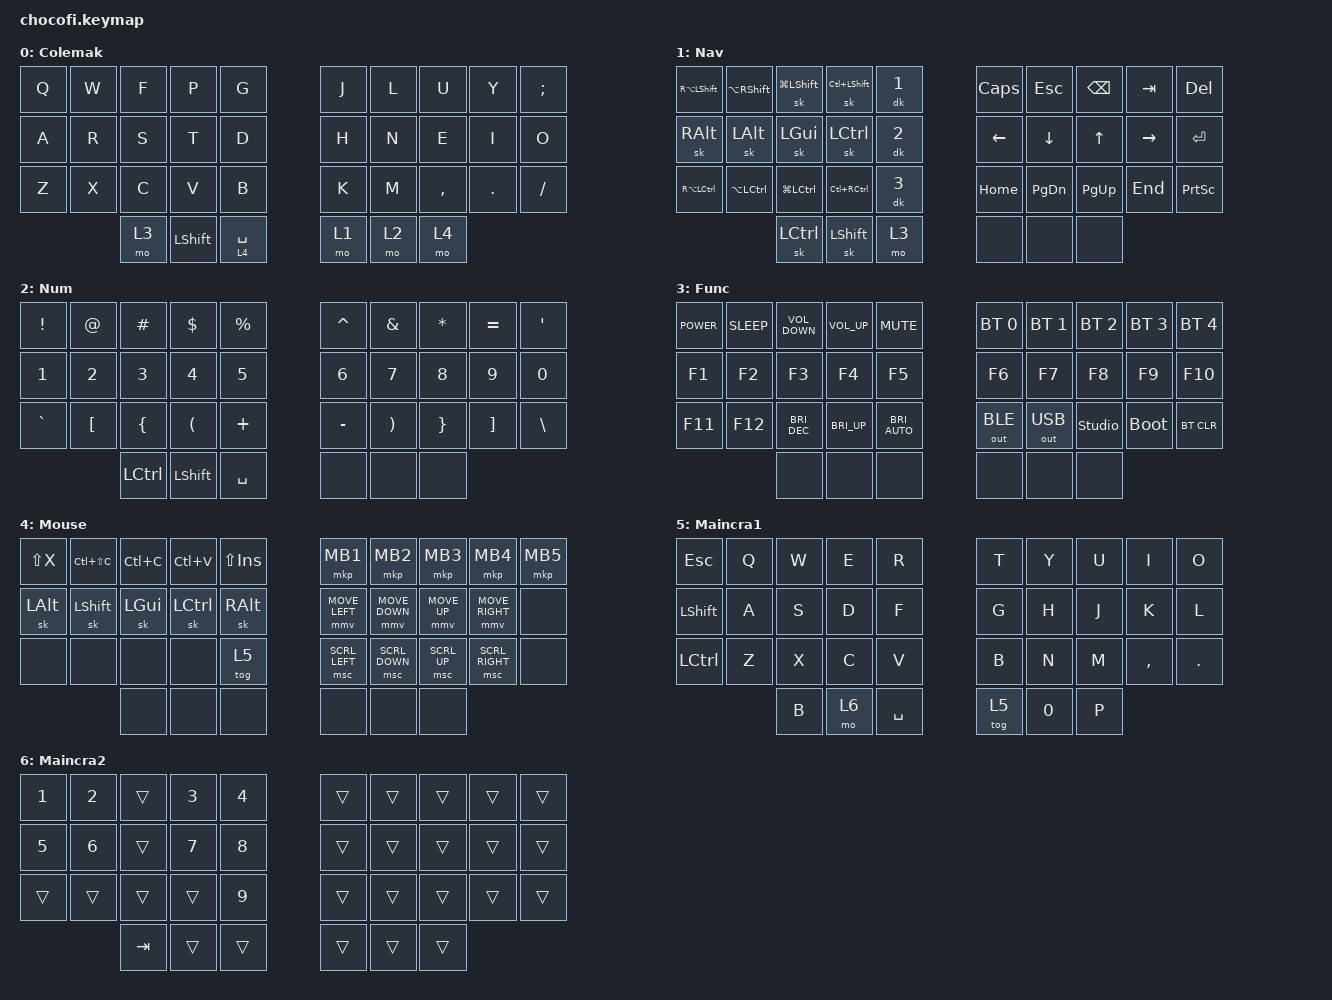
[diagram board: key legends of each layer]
/*
* Keymap configuration file
*/

#include <behaviors.dtsi>
#include <dt-bindings/zmk/bt.h>
#include <dt-bindings/zmk/keys.h>
#include <dt-bindings/zmk/outputs.h>
#include <dt-bindings/zmk/pointing.h>

&lt {
};

/ {
    combos { compatible = "zmk,combos"; };

    behaviors {
        dk: deck_key {
            compatible = "zmk,behavior-deck-key";
            #binding-cells = <1>;
            display-name = "Deck Key";
        };

        lhrm: lhrm {
            compatible = "zmk,behavior-hold-tap";
            label = "LHRM";
            #binding-cells = <2>;
            tapping-term-ms = <150>;
            quick-tap-ms = <100>;
            require-prior-idle-ms = <110>;
            flavor = "balanced";
            hold-trigger-key-positions = <33 25 15 5 6 16 26 34 35 27 17 7 8 18 28 29 19 5 6 7 8 9 15 16 17 18 19 25 26 27 28 29 33 34 35>;
            bindings = <&kp>, <&kp>;
        };

        rhrm: rhrm {
            compatible = "zmk,behavior-hold-tap";
            label = "RHRM";
            bindings = <&kp>, <&kp>;

            #binding-cells = <2>;
            tapping-term-ms = <150>;
            quick-tap-ms = <100>;
            require-prior-idle-ms = <110>;
            flavor = "balanced";
            hold-trigger-key-positions = <0 1 2 3 4 10 11 12 13 14 20 21 22 23 24 30 31 32>;
        };
    };

    keymap {
        compatible = "zmk,keymap";

        colemak {
            // -----------------------------------------------------------------------------------------
            // |  TAB |  Q  |  W  |  E  |  R  |  T  |   |  Y  |  U   |  I  |  O  |  P  | BSPC |
            // | CTRL |  A  |  S  |  D  |  F  |  G  |   |  H  |  J   |  K  |  L  |  ;  |  '   |
            // | SHFT |  Z  |  X  |  C  |  V  |  B  |   |  N  |  M   |  ,  |  .  |  /  | ESC  |
            //                    | GUI | LWR | SPC |   | ENT | RSE  | ALT |

            bindings = <
  &kp Q  &kp W  &kp F  &kp P       &kp G          &kp J  &kp L  &kp U      &kp Y    &kp SEMI
  &kp A  &kp R  &kp S  &kp T       &kp D          &kp H  &kp N  &kp E      &kp I    &kp O
  &kp Z  &kp X  &kp C  &kp V       &kp B          &kp K  &kp M  &kp COMMA  &kp DOT  &kp FSLH
                &mo 3  &kp LSHIFT  &lt 4 SPACE    &mo 1  &mo 2  &mo 4
            >;

            label = "Colemak";
        };

        Nav {
            bindings = <
  &kp RA(LEFT_SHIFT)  &kp LA(RSHIFT)  &sk LG(LSHIFT)  &sk LC(LEFT_SHIFT)  &dk 1    &kp CAPS  &kp ESC    &kp BACKSPACE  &kp TAB    &kp DELETE
  &sk RALT            &sk LEFT_ALT    &sk LGUI        &sk LCTRL           &dk 2    &kp LEFT  &kp DOWN   &kp UP         &kp RIGHT  &kp ENTER
  &kp RA(LCTRL)       &kp LA(LCTRL)   &kp LG(LCTRL)   &kp LC(RCTRL)       &dk 3    &kp HOME  &kp PG_DN  &kp PG_UP      &kp END    &kp PRINTSCREEN
                                      &sk LCTRL       &sk LEFT_SHIFT      &mo 3    &none     &none      &none
            >;

            label = "Nav";
        };

        Num {
            // -----------------------------------------------------------------------------------------
            // |  TAB |  !  |  @  |  #  |  $  |  %  |   |  ^  |  &  |  *  |  (  |  )  | BSPC |
            // | CTRL |     |     |     |     |     |   |  -  |  =  |  [  |  ]  |  \  |  `   |
            // | SHFT |     |     |     |     |     |   |  _  |  +  |  {  |  }  | "|" |  ~   |
            //                    | GUI |     | SPC |   | ENT |     | ALT |

            bindings = <
  &kp EXCL   &kp AT            &kp HASH          &kp DOLLAR            &kp PERCENT    &kp CARET  &kp AMPERSAND          &kp ASTERISK     &kp EQUAL          &kp APOS
  &kp N1     &kp N2            &kp N3            &kp N4                &kp N5         &kp N6     &kp N7                 &kp N8           &kp N9             &kp N0
  &kp GRAVE  &kp LEFT_BRACKET  &kp LEFT_BRACE    &kp LEFT_PARENTHESIS  &kp PLUS       &kp MINUS  &kp RIGHT_PARENTHESIS  &kp RIGHT_BRACE  &kp RIGHT_BRACKET  &kp BACKSLASH
                               &kp LEFT_CONTROL  &kp LSHIFT            &kp SPACE      &none      &none                  &none
            >;

            label = "Num";
        };

        Func {
            bindings = <
  &kp C_POWER  &kp C_SLEEP  &kp C_VOLUME_DOWN  &kp C_VOLUME_UP  &kp C_MUTE               &bt BT_SEL 0  &bt BT_SEL 1  &bt BT_SEL 2    &bt BT_SEL 3  &bt BT_SEL 4
  &kp F1       &kp F2       &kp F3             &kp F4           &kp F5                   &kp F6        &kp F7        &kp F8          &kp F9        &kp F10
  &kp F11      &kp F12      &kp C_BRI_DEC      &kp C_BRI_UP     &kp C_BRIGHTNESS_AUTO    &out OUT_BLE  &out OUT_USB  &studio_unlock  &bootloader   &bt BT_CLR
                            &none              &none            &none                    &none         &none         &none
            >;

            label = "Func";
        };

        Mouse {
            label = "Mouse";
            bindings = <
  &kp LS(X)  &kp LC(LS(C))   &kp LC(C)  &kp LC(V)  &kp LS(INSERT)    &mkp MB1        &mkp MB2        &mkp MB3      &mkp MB4         &mkp MB5
  &sk LALT   &sk LEFT_SHIFT  &sk LGUI   &sk LCTRL  &sk RALT          &mmv MOVE_LEFT  &mmv MOVE_DOWN  &mmv MOVE_UP  &mmv MOVE_RIGHT  &none
  &none      &none           &none      &none      &tog 5            &msc SCRL_LEFT  &msc SCRL_DOWN  &msc SCRL_UP  &msc SCRL_RIGHT  &none
                             &none      &none      &none             &none           &none           &none
            >;
        };

        Maincra1 {
            bindings = <
  &kp ESC    &kp Q  &kp W  &kp E  &kp R        &kp T   &kp Y   &kp U  &kp I      &kp O
  &kp LSHFT  &kp A  &kp S  &kp D  &kp F        &kp G   &kp H   &kp J  &kp K      &kp L
  &kp LCTRL  &kp Z  &kp X  &kp C  &kp V        &kp B   &kp N   &kp M  &kp COMMA  &kp DOT
                    &kp B  &mo 6  &kp SPACE    &tog 5  &kp N0  &kp P
            >;
        };

        Maincra2 {
            bindings = <
  &kp N1  &kp N2  &trans   &kp N3  &kp N4    &trans  &trans  &trans  &trans  &trans
  &kp N5  &kp N6  &trans   &kp N7  &kp N8    &trans  &trans  &trans  &trans  &trans
  &trans  &trans  &trans   &trans  &kp N9    &trans  &trans  &trans  &trans  &trans
                  &kp TAB  &trans  &trans    &trans  &trans  &trans
            >;
        };
    };
};
